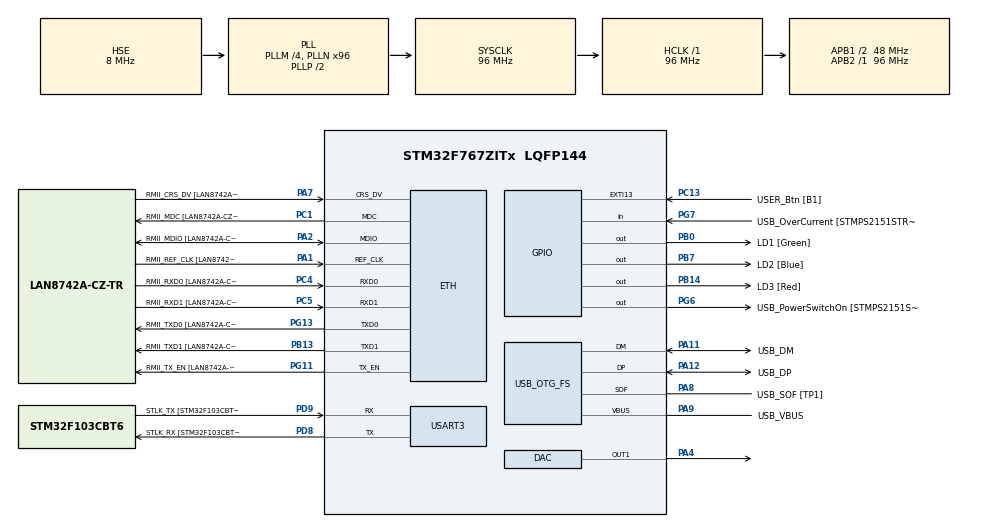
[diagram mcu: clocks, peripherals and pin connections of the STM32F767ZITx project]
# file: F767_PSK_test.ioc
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CORTEX_M7.default_mode_Activation=1
DAC.DAC_Trigger=DAC_TRIGGER_T6_TRGO
Dma.DAC1.0.Direction=DMA_MEMORY_TO_PERIPH
Dma.DAC1.0.FIFOMode=DMA_FIFOMODE_DISABLE
Dma.DAC1.0.Instance=DMA1_Stream5
Dma.DAC1.0.MemDataAlignment=DMA_MDATAALIGN_HALFWORD
Dma.DAC1.0.MemInc=DMA_MINC_ENABLE
Dma.DAC1.0.Mode=DMA_CIRCULAR
Dma.DAC1.0.PeriphDataAlignment=DMA_PDATAALIGN_HALFWORD
Dma.DAC1.0.PeriphInc=DMA_PINC_DISABLE
Dma.DAC1.0.Priority=DMA_PRIORITY_LOW
Dma.Request0=DAC1
ETH.MediaInterface=HAL_ETH_RMII_MODE
ETH.PHY_Name=LAN8742A_PHY_ADDRESS
ETH.PHY_Value=0
ETH.PhyAddress=0
Mcu.Family=STM32F7
Mcu.Name=STM32F767ZITx
Mcu.Package=LQFP144
NVIC.DMA1_Stream5_IRQn=true\:0\:0\:false\:false\:true\:false\:true\:true
NVIC.PriorityGroup=NVIC_PRIORITYGROUP_4
PA1.GPIO_Label=RMII_REF_CLK [LAN8742A-CZ-TR_REFCLK0]
PA1.Mode=RMII
PA1.Signal=ETH_REF_CLK
PA10.GPIO_Label=USB_ID
PA10.Signal=USB_OTG_FS_ID
PA11.GPIO_Label=USB_DM
PA11.Mode=Device_Only
PA11.Signal=USB_OTG_FS_DM
PA12.GPIO_Label=USB_DP
PA12.Mode=Device_Only
PA12.Signal=USB_OTG_FS_DP
PA13.GPIO_Label=TMS
PA13.Mode=Serial_Wire
PA13.Signal=SYS_JTMS-SWDIO
PA14.GPIO_Label=TCK
PA14.Mode=Serial_Wire
PA14.Signal=SYS_JTCK-SWCLK
PA2.GPIO_Label=RMII_MDIO [LAN8742A-CZ-TR_MDIO]
PA2.Mode=RMII
PA2.Signal=ETH_MDIO
PA4.Signal=COMP_DAC1_group
PA7.GPIO_Label=RMII_CRS_DV [LAN8742A-CZ-TR_CRS_DV]
PA7.Mode=RMII
PA7.Signal=ETH_CRS_DV
PA8.GPIO_Label=USB_SOF [TP1]
PA8.Mode=Activate_SOF_FS
PA8.Signal=USB_OTG_FS_SOF
PA9.GPIO_Label=USB_VBUS
PA9.Mode=Activate_VBUS
PA9.Signal=USB_OTG_FS_VBUS
PB0.GPIO_Label=LD1 [Green]
PB0.Signal=GPIO_Output
PB13.GPIO_Label=RMII_TXD1 [LAN8742A-CZ-TR_TXD1]
PB13.Mode=RMII
PB13.Signal=ETH_TXD1
PB14.GPIO_Label=LD3 [Red]
PB14.Signal=GPIO_Output
PB3.GPIO_Label=SWO
PB3.Signal=SYS_JTDO-SWO
PB7.GPIO_Label=LD2 [Blue]
PB7.Signal=GPIO_Output
PC1.GPIO_Label=RMII_MDC [LAN8742A-CZ-TR_MDC]
PC1.Mode=RMII
PC1.Signal=ETH_MDC
PC13.GPIO_Label=USER_Btn [B1]
PC13.Signal=GPXTI13
PC14/OSC32_IN.Mode=LSE-External-Oscillator
PC14/OSC32_IN.Signal=RCC_OSC32_IN
PC15/OSC32_OUT.Mode=LSE-External-Oscillator
PC15/OSC32_OUT.Signal=RCC_OSC32_OUT
PC4.GPIO_Label=RMII_RXD0 [LAN8742A-CZ-TR_RXD0]
PC4.Mode=RMII
PC4.Signal=ETH_RXD0
PC5.GPIO_Label=RMII_RXD1 [LAN8742A-CZ-TR_RXD1]
PC5.Mode=RMII
PC5.Signal=ETH_RXD1
PD8.GPIO_Label=STLK_RX [STM32F103CBT6_PA3]
PD8.Mode=Asynchronous
PD8.Signal=USART3_TX
PD9.GPIO_Label=STLK_TX [STM32F103CBT6_PA2]
PD9.Mode=Asynchronous
PD9.Signal=USART3_RX
PG11.GPIO_Label=RMII_TX_EN [LAN8742A-CZ-TR_TXEN]
PG11.Mode=RMII
PG11.Signal=ETH_TX_EN
PG13.GPIO_Label=RMII_TXD0 [LAN8742A-CZ-TR_TXD0]
PG13.Mode=RMII
PG13.Signal=ETH_TXD0
PG6.GPIO_Label=USB_PowerSwitchOn [STMPS2151STR_EN]
PG6.Signal=GPIO_Output
PG7.GPIO_Label=USB_OverCurrent [STMPS2151STR_FAULT]
PG7.Signal=GPIO_Input
PH0/OSC_IN.GPIO_Label=MCO [STM32F103CBT6_PA8]
PH0/OSC_IN.Mode=HSE-External-Clock-Source
PH0/OSC_IN.Signal=RCC_OSC_IN
PH1/OSC_OUT.Mode=HSE-External-Clock-Source
PH1/OSC_OUT.Signal=RCC_OSC_OUT
ProjectManager.HeapSize=0x200
ProjectManager.StackSize=0x400
ProjectManager.TargetToolchain=STM32CubeIDE
RCC.48MHZClocksFreq_Value=24000000
RCC.AHBFreq_Value=96000000
RCC.APB1CLKDivider=RCC_HCLK_DIV2
RCC.APB1Freq_Value=48000000
RCC.APB1TimFreq_Value=96000000
RCC.APB2Freq_Value=96000000
RCC.APB2TimFreq_Value=96000000
RCC.CortexFreq_Value=96000000
RCC.HCLKFreq_Value=96000000
RCC.HSE_VALUE=8000000
RCC.HSI_VALUE=16000000
RCC.PLLM=4
RCC.PLLMUL=RCC_PLL_MUL9
RCC.PLLN=96
RCC.PLLQ=4
RCC.PRESCALERUSB=RCC_USBCLKSOURCE_PLL_DIV1_5
RCC.SYSCLKFreq_VALUE=96000000
RCC.SYSCLKSource=RCC_SYSCLKSOURCE_PLLCLK
RCC.SYSCLKSourceVirtual=RCC_SYSCLKSOURCE_PLLCLK
RCC.USBFreq_Value=48000000
RCC.VCOOutputFreq_Value=192000000
SH.COMP_DAC1_group.0=DAC_OUT1,DAC_OUT1
TIM6.TIM_MasterOutputTrigger=TIM_TRGO_UPDATE
USART3.VirtualMode-Asynchronous=VM_ASYNC
USB_OTG_FS.VirtualMode=Device_Only
VP_TIM6_VS_ClockSourceINT.Mode=Enable_Timer
board=NUCLEO-F767ZI

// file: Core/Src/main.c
/* USER CODE BEGIN Header */
/* F767_PSK_test */
/**
  ******************************************************************************
  * @file           : main.c
  * @brief          : Main program body
  ******************************************************************************
  * @attention
  *
  * Copyright (c) 2026 STMicroelectronics.
  * All rights reserved.
  *
  * This software is licensed under terms that can be found in the LICENSE file
  * in the root directory of this software component.
  * If no LICENSE file comes with this software, it is provided AS-IS.
  *
  ******************************************************************************
  */
/* USER CODE END Header */
#include "main.h"
#include "string.h"

/* USER CODE BEGIN Includes */
#include <math.h>
#include <string.h>
#include <stdio.h>
#include <stdint.h>
/* USER CODE END Includes */

#if defined ( __ICCARM__ ) /*!< IAR Compiler */
#pragma location=0x2007c000
ETH_DMADescTypeDef  DMARxDscrTab[ETH_RX_DESC_CNT]; /* Ethernet Rx DMA Descriptors */
#pragma location=0x2007c0a0
ETH_DMADescTypeDef  DMATxDscrTab[ETH_TX_DESC_CNT]; /* Ethernet Tx DMA Descriptors */

#elif defined ( __CC_ARM )  /* MDK ARM Compiler */

__attribute__((at(0x2007c000))) ETH_DMADescTypeDef  DMARxDscrTab[ETH_RX_DESC_CNT]; /* Ethernet Rx DMA Descriptors */
__attribute__((at(0x2007c0a0))) ETH_DMADescTypeDef  DMATxDscrTab[ETH_TX_DESC_CNT]; /* Ethernet Tx DMA Descriptors */

#elif defined ( __GNUC__ ) /* GNU Compiler */

ETH_DMADescTypeDef DMARxDscrTab[ETH_RX_DESC_CNT] __attribute__((section(".RxDecripSection"))); /* Ethernet Rx DMA Descriptors */
ETH_DMADescTypeDef DMATxDscrTab[ETH_TX_DESC_CNT] __attribute__((section(".TxDecripSection")));   /* Ethernet Tx DMA Descriptors */
#endif

ETH_TxPacketConfig TxConfig;

DAC_HandleTypeDef hdac;
DMA_HandleTypeDef hdma_dac1;

ETH_HandleTypeDef heth;

TIM_HandleTypeDef htim6;

UART_HandleTypeDef huart3;

PCD_HandleTypeDef hpcd_USB_OTG_FS;

/* USER CODE BEGIN PV */
#define NS            32
#define DAC_MID       2048
#define TIM6_CLK      96000000UL

const uint16_t SineLUT[NS] =
{
  2048, 2447, 2831, 3185, 3495, 3749, 3939, 4056,
  4095, 4056, 3939, 3749, 3495, 3185, 2831, 2447,
  2048, 1649, 1265, 911,  601,  347,  157,  40,
  1,    40,   157,  347,  601,  911,  1265, 1649
};

uint16_t WaveBuf[NS];

char bitstream[] = "01101001011011110101";
/* USER CODE END PV */

void SystemClock_Config(void);
static void MPU_Config(void);
static void MX_GPIO_Init(void);
static void MX_DMA_Init(void);
static void MX_DAC_Init(void);
static void MX_ETH_Init(void);
static void MX_TIM6_Init(void);
static void MX_USART3_UART_Init(void);
static void MX_USB_OTG_FS_PCD_Init(void);
/* USER CODE BEGIN PFP */
void CopySinToWaveBuf(void);
void CopyCosToWaveBuf(void);
void StartWaveDMA(void);
void SetOutputFrequency(uint32_t fout);
void SendBits(void);
/* USER CODE END PFP */

/* USER CODE BEGIN 0 */
void CopySinToWaveBuf(void)
{
  for (uint32_t i = 0; i < NS; i++)
  {
    WaveBuf[i] = SineLUT[i];
  } // end for
} // end function CopySinToWaveBuf

void CopyCosToWaveBuf(void)
{
  for (uint32_t i = 0; i < NS; i++)
  {
    WaveBuf[i] = SineLUT[(i + NS/4) % NS];
  } // end for
} // end function CopyCosToWaveBuf

void StartWaveDMA(void)
{
  HAL_DAC_Stop_DMA(&hdac , DAC_CHANNEL_1);
  HAL_DAC_Start_DMA(&hdac , DAC_CHANNEL_1 , (uint32_t *)WaveBuf , NS , DAC_ALIGN_12B_R);
} // end function StartWaveDMA

void SetOutputFrequency(uint32_t fout)
{
  uint32_t arr;

  arr = (TIM6_CLK / (fout * NS)) - 1U;

  __HAL_TIM_DISABLE(&htim6);
  __HAL_TIM_SET_AUTORELOAD(&htim6 , arr);
  __HAL_TIM_SET_COUNTER(&htim6 , 0);
  __HAL_TIM_ENABLE(&htim6);
} // end function SetOutputFrequency

void SendBits(void)
{
  uint32_t len = strlen(bitstream);

  for (uint32_t i = 0; i < len; i++)
  {
    if (bitstream[i] == '0')
    {
      CopySinToWaveBuf();
    } // end if
    else
    {
      CopyCosToWaveBuf();
    } // end if

    StartWaveDMA();
    HAL_Delay(1000);
  } // end for
} // end function SendBits
/* USER CODE END 0 */

int main(void)
{

  /* MPU Configuration--------------------------------------------------------*/
  MPU_Config();

  /* MCU Configuration--------------------------------------------------------*/

  /* Reset of all peripherals, Initializes the Flash interface and the Systick. */
  HAL_Init();

  /* Configure the system clock */
  SystemClock_Config();

  /* Initialize all configured peripherals */
  MX_GPIO_Init();
  MX_DMA_Init();
  MX_DAC_Init();
  MX_ETH_Init();
  MX_TIM6_Init();
  MX_USART3_UART_Init();
  MX_USB_OTG_FS_PCD_Init();
  /* USER CODE BEGIN 2 */
  CopySinToWaveBuf();
  HAL_TIM_Base_Start(&htim6);
  SetOutputFrequency(1000);         // 1k, 30k, 31k, 45k, 46k
  StartWaveDMA();
  /* USER CODE END 2 */

  /* Infinite loop */
  while (1)
  {
    SendBits();
  }
}

void SystemClock_Config(void)
{
  RCC_OscInitTypeDef RCC_OscInitStruct = {0};
  RCC_ClkInitTypeDef RCC_ClkInitStruct = {0};

  /** Configure LSE Drive Capability
  */
  HAL_PWR_EnableBkUpAccess();

  /** Configure the main internal regulator output voltage
  */
  __HAL_RCC_PWR_CLK_ENABLE();
  __HAL_PWR_VOLTAGESCALING_CONFIG(PWR_REGULATOR_VOLTAGE_SCALE3);

  /** Initializes the RCC Oscillators according to the specified parameters
  * in the RCC_OscInitTypeDef structure.
  */
  RCC_OscInitStruct.OscillatorType = RCC_OSCILLATORTYPE_HSE;
  RCC_OscInitStruct.HSEState = RCC_HSE_BYPASS;
  RCC_OscInitStruct.PLL.PLLState = RCC_PLL_ON;
  RCC_OscInitStruct.PLL.PLLSource = RCC_PLLSOURCE_HSE;
  RCC_OscInitStruct.PLL.PLLM = 4;
  RCC_OscInitStruct.PLL.PLLN = 96;
  RCC_OscInitStruct.PLL.PLLP = RCC_PLLP_DIV2;
  RCC_OscInitStruct.PLL.PLLQ = 4;
  RCC_OscInitStruct.PLL.PLLR = 2;
  if (HAL_RCC_OscConfig(&RCC_OscInitStruct) != HAL_OK)
  {
    Error_Handler();
  }

  /** Activate the Over-Drive mode
  */
  if (HAL_PWREx_EnableOverDrive() != HAL_OK)
  {
    Error_Handler();
  }

  /** Initializes the CPU, AHB and APB buses clocks
  */
  RCC_ClkInitStruct.ClockType = RCC_CLOCKTYPE_HCLK|RCC_CLOCKTYPE_SYSCLK
                              |RCC_CLOCKTYPE_PCLK1|RCC_CLOCKTYPE_PCLK2;
  RCC_ClkInitStruct.SYSCLKSource = RCC_SYSCLKSOURCE_PLLCLK;
  RCC_ClkInitStruct.AHBCLKDivider = RCC_SYSCLK_DIV1;
  RCC_ClkInitStruct.APB1CLKDivider = RCC_HCLK_DIV2;
  RCC_ClkInitStruct.APB2CLKDivider = RCC_HCLK_DIV1;

  if (HAL_RCC_ClockConfig(&RCC_ClkInitStruct, FLASH_LATENCY_3) != HAL_OK)
  {
    Error_Handler();
  }
}

static void MX_DAC_Init(void)
{

  DAC_ChannelConfTypeDef sConfig = {0};

  /** DAC Initialization
  */
  hdac.Instance = DAC;
  if (HAL_DAC_Init(&hdac) != HAL_OK)
  {
    Error_Handler();
  }

  /** DAC channel OUT1 config
  */
  sConfig.DAC_Trigger = DAC_TRIGGER_T6_TRGO;
  sConfig.DAC_OutputBuffer = DAC_OUTPUTBUFFER_ENABLE;
  if (HAL_DAC_ConfigChannel(&hdac, &sConfig, DAC_CHANNEL_1) != HAL_OK)
  {
    Error_Handler();
  }

}

static void MX_ETH_Init(void)
{

   static uint8_t MACAddr[6];

  heth.Instance = ETH;
  MACAddr[0] = 0x00;
  MACAddr[1] = 0x80;
  MACAddr[2] = 0xE1;
  MACAddr[3] = 0x00;
  MACAddr[4] = 0x00;
  MACAddr[5] = 0x00;
  heth.Init.MACAddr = &MACAddr[0];
  heth.Init.MediaInterface = HAL_ETH_RMII_MODE;
  heth.Init.TxDesc = DMATxDscrTab;
  heth.Init.RxDesc = DMARxDscrTab;
  heth.Init.RxBuffLen = 1524;

  if (HAL_ETH_Init(&heth) != HAL_OK)
  {
    Error_Handler();
  }

  memset(&TxConfig, 0 , sizeof(ETH_TxPacketConfig));
  TxConfig.Attributes = ETH_TX_PACKETS_FEATURES_CSUM | ETH_TX_PACKETS_FEATURES_CRCPAD;
  TxConfig.ChecksumCtrl = ETH_CHECKSUM_IPHDR_PAYLOAD_INSERT_PHDR_CALC;
  TxConfig.CRCPadCtrl = ETH_CRC_PAD_INSERT;

}

static void MX_TIM6_Init(void)
{

  TIM_MasterConfigTypeDef sMasterConfig = {0};

  htim6.Instance = TIM6;
  htim6.Init.Prescaler = 0;
  htim6.Init.CounterMode = TIM_COUNTERMODE_UP;
  htim6.Init.Period = 65535;
  htim6.Init.AutoReloadPreload = TIM_AUTORELOAD_PRELOAD_DISABLE;
  if (HAL_TIM_Base_Init(&htim6) != HAL_OK)
  {
    Error_Handler();
  }
  sMasterConfig.MasterOutputTrigger = TIM_TRGO_UPDATE;
  sMasterConfig.MasterSlaveMode = TIM_MASTERSLAVEMODE_DISABLE;
  if (HAL_TIMEx_MasterConfigSynchronization(&htim6, &sMasterConfig) != HAL_OK)
  {
    Error_Handler();
  }

}

static void MX_USART3_UART_Init(void)
{

  huart3.Instance = USART3;
  huart3.Init.BaudRate = 115200;
  huart3.Init.WordLength = UART_WORDLENGTH_8B;
  huart3.Init.StopBits = UART_STOPBITS_1;
  huart3.Init.Parity = UART_PARITY_NONE;
  huart3.Init.Mode = UART_MODE_TX_RX;
  huart3.Init.HwFlowCtl = UART_HWCONTROL_NONE;
  huart3.Init.OverSampling = UART_OVERSAMPLING_16;
  huart3.Init.OneBitSampling = UART_ONE_BIT_SAMPLE_DISABLE;
  huart3.AdvancedInit.AdvFeatureInit = UART_ADVFEATURE_NO_INIT;
  if (HAL_UART_Init(&huart3) != HAL_OK)
  {
    Error_Handler();
  }

}

static void MX_USB_OTG_FS_PCD_Init(void)
{

  hpcd_USB_OTG_FS.Instance = USB_OTG_FS;
  hpcd_USB_OTG_FS.Init.dev_endpoints = 6;
  hpcd_USB_OTG_FS.Init.speed = PCD_SPEED_FULL;
  hpcd_USB_OTG_FS.Init.dma_enable = DISABLE;
  hpcd_USB_OTG_FS.Init.phy_itface = PCD_PHY_EMBEDDED;
  hpcd_USB_OTG_FS.Init.Sof_enable = ENABLE;
  hpcd_USB_OTG_FS.Init.low_power_enable = DISABLE;
  hpcd_USB_OTG_FS.Init.lpm_enable = DISABLE;
  hpcd_USB_OTG_FS.Init.vbus_sensing_enable = ENABLE;
  hpcd_USB_OTG_FS.Init.use_dedicated_ep1 = DISABLE;
  if (HAL_PCD_Init(&hpcd_USB_OTG_FS) != HAL_OK)
  {
    Error_Handler();
  }

}

static void MX_DMA_Init(void)
{

  /* DMA controller clock enable */
  __HAL_RCC_DMA1_CLK_ENABLE();

  /* DMA interrupt init */
  /* DMA1_Stream5_IRQn interrupt configuration */
  HAL_NVIC_SetPriority(DMA1_Stream5_IRQn, 0, 0);
  HAL_NVIC_EnableIRQ(DMA1_Stream5_IRQn);

}

static void MX_GPIO_Init(void)
{
  GPIO_InitTypeDef GPIO_InitStruct = {0};

  /* GPIO Ports Clock Enable */
  __HAL_RCC_GPIOC_CLK_ENABLE();
  __HAL_RCC_GPIOH_CLK_ENABLE();
  __HAL_RCC_GPIOA_CLK_ENABLE();
  __HAL_RCC_GPIOB_CLK_ENABLE();
  __HAL_RCC_GPIOD_CLK_ENABLE();
  __HAL_RCC_GPIOG_CLK_ENABLE();

  /*Configure GPIO pin Output Level */
  HAL_GPIO_WritePin(GPIOB, LD1_Pin|LD3_Pin|LD2_Pin, GPIO_PIN_RESET);

  /*Configure GPIO pin Output Level */
  HAL_GPIO_WritePin(USB_PowerSwitchOn_GPIO_Port, USB_PowerSwitchOn_Pin, GPIO_PIN_RESET);

  /*Configure GPIO pin : USER_Btn_Pin */
  GPIO_InitStruct.Pin = USER_Btn_Pin;
  GPIO_InitStruct.Mode = GPIO_MODE_IT_RISING;
  GPIO_InitStruct.Pull = GPIO_NOPULL;
  HAL_GPIO_Init(USER_Btn_GPIO_Port, &GPIO_InitStruct);

  /*Configure GPIO pins : LD1_Pin LD3_Pin LD2_Pin */
  GPIO_InitStruct.Pin = LD1_Pin|LD3_Pin|LD2_Pin;
  GPIO_InitStruct.Mode = GPIO_MODE_OUTPUT_PP;
  GPIO_InitStruct.Pull = GPIO_NOPULL;
  GPIO_InitStruct.Speed = GPIO_SPEED_FREQ_LOW;
  HAL_GPIO_Init(GPIOB, &GPIO_InitStruct);

  /*Configure GPIO pin : USB_PowerSwitchOn_Pin */
  GPIO_InitStruct.Pin = USB_PowerSwitchOn_Pin;
  GPIO_InitStruct.Mode = GPIO_MODE_OUTPUT_PP;
  GPIO_InitStruct.Pull = GPIO_NOPULL;
  GPIO_InitStruct.Speed = GPIO_SPEED_FREQ_LOW;
  HAL_GPIO_Init(USB_PowerSwitchOn_GPIO_Port, &GPIO_InitStruct);

  /*Configure GPIO pin : USB_OverCurrent_Pin */
  GPIO_InitStruct.Pin = USB_OverCurrent_Pin;
  GPIO_InitStruct.Mode = GPIO_MODE_INPUT;
  GPIO_InitStruct.Pull = GPIO_NOPULL;
  HAL_GPIO_Init(USB_OverCurrent_GPIO_Port, &GPIO_InitStruct);

}

 /* MPU Configuration */

void MPU_Config(void)
{
  MPU_Region_InitTypeDef MPU_InitStruct = {0};

  /* Disables the MPU */
  HAL_MPU_Disable();

  /** Initializes and configures the Region and the memory to be protected
  */
  MPU_InitStruct.Enable = MPU_REGION_ENABLE;
  MPU_InitStruct.Number = MPU_REGION_NUMBER0;
  MPU_InitStruct.BaseAddress = 0x0;
  MPU_InitStruct.Size = MPU_REGION_SIZE_4GB;
  MPU_InitStruct.SubRegionDisable = 0x87;
  MPU_InitStruct.TypeExtField = MPU_TEX_LEVEL0;
  MPU_InitStruct.AccessPermission = MPU_REGION_NO_ACCESS;
  MPU_InitStruct.DisableExec = MPU_INSTRUCTION_ACCESS_DISABLE;
  MPU_InitStruct.IsShareable = MPU_ACCESS_SHAREABLE;
  MPU_InitStruct.IsCacheable = MPU_ACCESS_NOT_CACHEABLE;
  MPU_InitStruct.IsBufferable = MPU_ACCESS_NOT_BUFFERABLE;

  HAL_MPU_ConfigRegion(&MPU_InitStruct);
  /* Enables the MPU */
  HAL_MPU_Enable(MPU_PRIVILEGED_DEFAULT);

}

void Error_Handler(void)
{
  __disable_irq();
  while (1)
  {
  }
}
